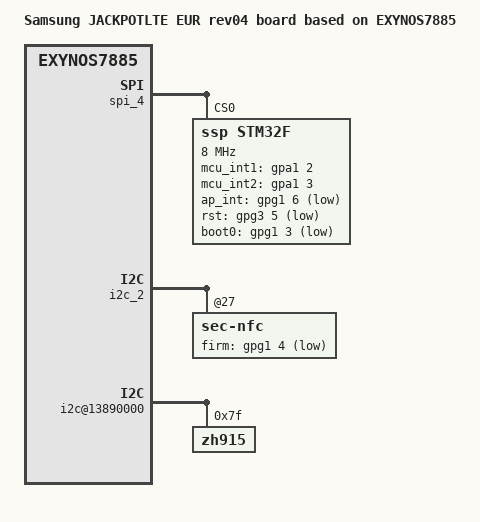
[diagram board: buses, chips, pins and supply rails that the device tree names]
/*
 * SAMSUNG UNIVERSAL7885 board device tree source
 *
 * Copyright (c) 2013 Samsung Electronics Co., Ltd.
 *		http://www.samsung.com
 *
 * This program is free software; you can redistribute it and/or modify
 * it under the terms of the GNU General Public License version 2 as
 * published by the Free Software Foundation.
*/

/dts-v1/;
#include "exynos7885-jackpotlte_common.dtsi"
#include "exynos7885-jackpotlte_fingerprint-sensor_00.dtsi"
#include "exynos7885-jackpotlte_eur_open_gpio_03.dtsi"
#include "exynos7885-jackpotlte_mst_02.dtsi"
#include "exynos7885-jackpotlte_svcled.dtsi"

/ {
	model = "Samsung JACKPOTLTE EUR rev04 board based on EXYNOS7885";
	model_info-chip = <7885>;
	model_info-platform = "android";
	model_info-subtype = "samsung";
	model_info-hw_rev = <3>;
	model_info-hw_rev_end = <3>;
	compatible = "samsung, JACKPOTLTE EUR rev04", "samsung,Universal7885";

	/* SENSORHUB */
    spi_4: spi@13980000 {
        #address-cells = <1>;
        #size-cells = <0>;

        pinctrl-names = "default";
        pinctrl-0 = <&spi4_miso &spi4_mosi &spi4_cs &spi4_clk>;
        interrupts = <0 277 0>;

        num-cs = <1>;
        status = "okay";

		STM32F@0 {
			compatible = "ssp,STM32F";
			reg = <0>;
			spi-max-frequency = <8000000>;
			spi-cpol;
			spi-cpha;
			pinctrl-names = "default";
			pinctrl-0 = <&ssp_rst &ssp_ap_int &ssp_mcu_int1 &ssp_mcu_int2 &ssp_boot0>;

			gpio-controller;
			#gpio-cells = <2>;
			ssp,mcu_int1-gpio = <&gpa1 2 0x00>;
			ssp,mcu_int2-gpio = <&gpa1 3 0x00>;
			ssp,ap_int-gpio = <&gpg1 6 0x01>;
			ssp,rst-gpio = <&gpg3 5 0x01>;
			ssp,boot0-gpio = <&gpg1 3 0x1>;
			ssp,acc-position = <7>;
			ssp,mag-position = <5>;
			ssp-sns-combination = <0>;
			ssp,prox-hi_thresh = <55>;
			ssp,prox-low_thresh = <40>;
			ssp,prox-detect_hi_thresh = <250>;
			ssp,prox-detect_low_thresh = <130>;
			ssp-ap-rev = <1>;
			ssp-mag-array = /bits/ 8 <207 82 201 4 218 137 254 197 213
                                    55 35 84 243 129 255 167 2 43
                                    230 232 191 252 243 208 9 197 21>;
			ssp-mag-type = <1>;
			ssp-glass-type = <0>;
			ssp-acc-type = <1>;
			ssp-pressure-type = <1>;
			ssp-project-type = <1>;


            controller-data {
                cs-gpio = <&gpp8 0 0>;
                samsung,spi-feedback-delay = <0>;
			};
        };
	};

	pinctrl@139B0000 {
		nfc_pvdd_en: nfc_pvdd_en {
				samsung,pins = "gpg1-5";
				samsung,pin-function = <1>;
				samsung,pin-pud = <0>;
				samsung,pin-val = <0>;
				samsung,pin-con-pdn = <3>;
				samsung,pin-pud-pdn = <0>;
		};

		nfc_firm: nfc_firm {
			samsung,pins = "gpg1-4";
			samsung,pin-function = <1>;
			samsung,pin-pud = <0>;
			samsung,pin-val = <0>;
			samsung,pin-con-pdn = <3>;
			samsung,pin-pud-pdn = <0>;
		};
	};

	i2c_2: i2c@13850000 {
		sec-nfc@27 {
			sec-nfc,firm-gpio = <&gpg1 4 1>;
			sec-nfc,pvdd_en = <&gpg1 5 1>;
			pinctrl-names = "default";
			pinctrl-0 = <&nfc_pd &nfc_firm &nfc_int &nfc_clk &nfc_pvdd_en &nfc_clk_req>;
		};
	};
	
	/* USIM DETECTION FOR CP */
	usim_det {
		pinctrl-names = "default";
		pinctrl-0 = <&sim0_det_gpio &sim1_det_gpio>;
		mif,num_of_usim_det = <2>;
		mif,usim-det0-gpio = <&gpa2 6 0>;
		mif,usim-det1-gpio = <&gpa2 5 0>;
	};

	fimc_is_sensor_2p6: fimc-is_sensor_2p6@5A {
		gpio_reset = <&gpq0 1 0x1>; /* sensor reset - jackpot hw_rev = 000'b ~ 011'b */
	};

	/* sec-wf-thermistor */
	sec_thermistor@6 {
		status = "disabled";
	};

	/* motor control type :  1 = IFPMIC */
	/*                                  2 = Mot driving IC */
	motor {
		motor,motor_type = <2>;
	};

	pinctrl@13430000 {
		motor: motor {
			samsung,pins = "gpf3-4";
			samsung,pin-function = <1>;
			samsung,pin-pud = <1>;
			samsung,pin-val = <1>;
			samsung,pin-drv = <0>;
		};
		motor_en_high: motor_en_high {
			samsung,pins = "gpf3-4";
			samsung,pin-function = <1>;
			samsung,pin-pud = <3>;
			samsung,pin-val = <1>;
			samsung,pin-drv = <0>;
		};
	};

	i2c@13890000 {
		status = "okay";
 		#address-cells = <1>;
		#size-cells = <0>;
		
		zh915@7F {
			compatible = "zh915";
			reg = <0x7F>;
			pinctrl-names ="default", "motor_en_high";
			pinctrl-0 = <&motor>;
			pinctrl-1 = <&motor_en_high>;
			status = "okay";
			mot_boost_en = <&gpf3 4 0>;
		};
	};
};
